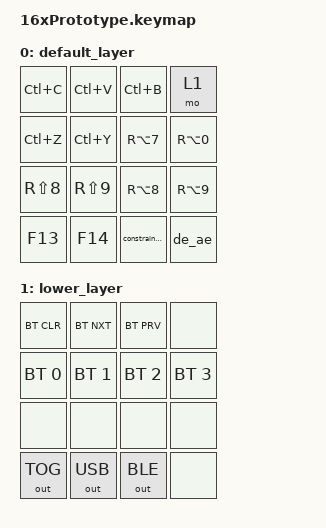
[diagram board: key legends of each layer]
#define HOST_OS 1

#include <behaviors.dtsi>
#include <dt-bindings/zmk/keys.h>
#include <dt-bindings/zmk/bt.h>
#include <dt-bindings/zmk/outputs.h>

// helper.h from https://github.com/urob/zmk-nodefree-config/tree/main
#include "helper.h"

ZMK_UNICODE_PAIR(   de_ae,      N0, N0,  E, N4,    N0, N0,  C, N4)

#define DEFAULT 0
#define LOWER   1

#define MY_MACRO(name, unicode_bindings) \
    / { \
        macros { \
            name: name { \
                compatible = "zmk,behavior-macro"; \
                label = ZMK_HELPER_STRINGIFY(UC_MACRO_ ## name); \
                wait-ms = <0>; \
                tap-ms = <0>; \
                #binding-cells = <0>; \
                bindings = <&macro_press &kp LGUI &kp RALT>, <&macro_tap unicode_bindings>, <&macro_release &kp LGUI &kp RALT>; \
            }; \
        }; \
    };

MY_MACRO(constrainDistance, &kp F  &kp F  &kp E  &kp N0)


/ {
    keymap {
        compatible = "zmk,keymap";
        default_layer {
        // Ctrl+C   Ctrl+V   Ctrl+B   Layer 1
        // Ctrl+Z   Ctrl+Y     {       }
        //   (        )        [       ]
        //  F13      F14      constrainDistance     ä
            bindings = <
              &kp LC(C)         &kp LC(V)         &kp LC(B)           &mo 1 /* switch to layer lower_layer while pressed */
              &kp LC(Z)         &kp LC(Y)         &kp RA(NUMBER_7)    &kp RA(NUMBER_0)
              &kp RS(NUMBER_8)  &kp RS(NUMBER_9)  &kp RA(NUMBER_8)    &kp RA(NUMBER_9)
              &kp F13           &kp F14           &constrainDistance  &de_ae
            >;
        };

        lower_layer {
            bindings = <
                &bt BT_CLR    &bt BT_NXT    &bt BT_PRV    &none
                &bt BT_SEL 0  &bt BT_SEL 1  &bt BT_SEL 2  &bt BT_SEL 3
                &none         &none         &none         &none 
                &out OUT_TOG  &out OUT_USB  &out OUT_BLE  &none 
                     >;
        };
    };
};
